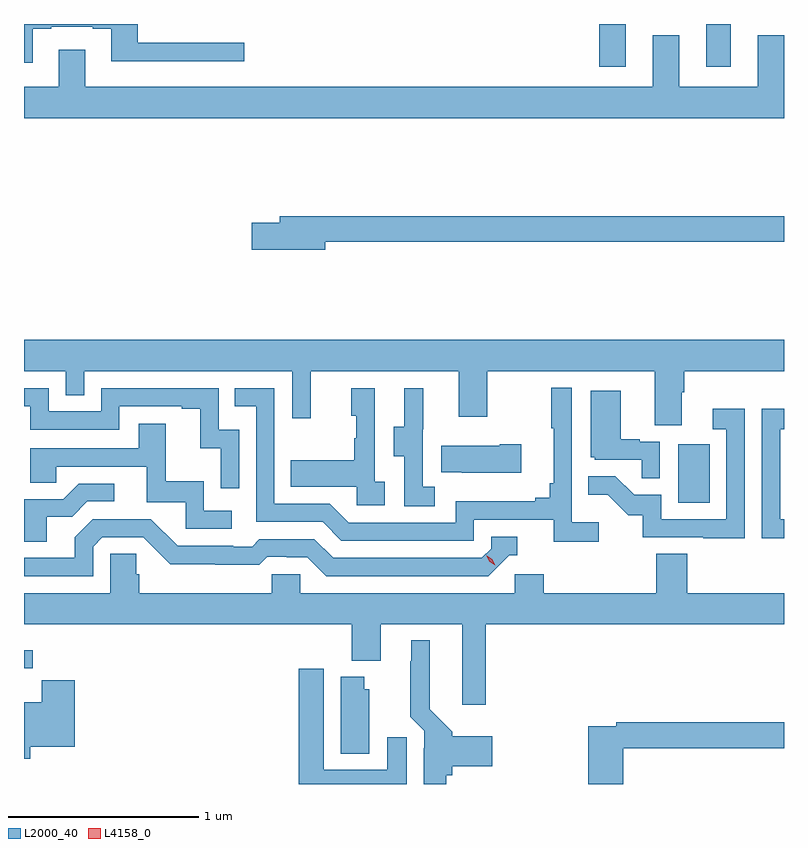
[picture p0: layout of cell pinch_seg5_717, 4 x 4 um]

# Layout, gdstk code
import gdstk
lib = gdstk.Library(unit=1e-6, precision=1e-09)
def R(c, l, rs):  # rectangles x0, y0, x1, y1
    for r in rs: c.add(gdstk.rectangle(r[:2], r[2:], *l))
def P(c, l, *ps):  # polygons
    for p in ps: c.add(gdstk.Polygon(p, *l))
L2000_40 = (2000, 40)
L4158_0 = (4158, 0)

pinch_seg5_717 = lib.new_cell('pinch_seg5_717')
R(pinch_seg5_717, L2000_40, [(1078.556,852.533,1078.602,852.628), (1082,853.404,1082.164,853.711), (1081.583,855.699,1081.723,855.923), (1082.147,855.699,1082.275,855.923)])
P(pinch_seg5_717, L2000_40, [(1078.603,855.897),(1078.699,855.897),(1078.699,855.909),(1078.919,855.909),(1078.919,855.897),(1079.015,855.897),(1079.015,855.728),(1079.716,855.728),(1079.716,855.825),(1079.155,855.825),(1079.155,855.923),(1078.556,855.923),(1078.556,855.72),(1078.603,855.72)],
  [(1082.556,855.865),(1082.417,855.865),(1082.417,855.592),(1082.005,855.592),(1082.005,855.865),(1081.865,855.865),(1081.865,855.592),(1078.879,855.592),(1078.879,855.787),(1078.739,855.787),(1078.739,855.592),(1078.556,855.592),(1078.556,855.428),(1082.556,855.428)],
  [(1080.142,854.776),(1082.556,854.776),(1082.556,854.912),(1079.903,854.912),(1079.903,854.876),(1079.754,854.876),(1079.754,854.734),(1080.142,854.734)],
  [(1082.017,853.984),(1082.03,853.984),(1082.03,854.096),(1082.556,854.096),(1082.556,854.26),(1078.556,854.26),(1078.556,854.096),(1078.776,854.096),(1078.776,853.969),(1078.872,853.969),(1078.872,854.096),(1079.967,854.096),(1079.967,853.848),(1080.065,853.848),(1080.065,854.096),(1080.845,854.096),(1080.845,853.857),(1080.993,853.857),(1080.993,854.096),(1081.877,854.096),(1081.877,853.81),(1082.017,853.81)],
  [(1081.582,853.3),(1081.44,853.3),(1081.44,854.008),(1081.332,854.008),(1081.332,853.795),(1081.343,853.795),(1081.343,853.507),(1081.324,853.507),(1081.324,853.43),(1081.247,853.43),(1081.247,853.411),(1080.828,853.411),(1080.828,853.299),(1080.264,853.299),(1080.165,853.398),(1079.874,853.398),(1079.874,854.007),(1079.665,854.007),(1079.665,853.911),(1079.778,853.911),(1079.778,853.302),(1080.128,853.302),(1080.227,853.203),(1080.924,853.203),(1080.924,853.314),(1081.343,853.314),(1081.343,853.198),(1081.582,853.198)],
  [(1079.688,853.788),(1079.58,853.788),(1079.58,854.007),(1078.962,854.007),(1078.962,853.884),(1078.686,853.884),(1078.686,854.007),(1078.556,854.007),(1078.556,853.911),(1078.59,853.911),(1078.59,853.788),(1079.058,853.788),(1079.058,853.911),(1079.387,853.911),(1079.387,853.899),(1079.483,853.899),(1079.483,853.691),(1079.592,853.691),(1079.592,853.479),(1079.688,853.479)],
  [(1080.454,853.514),(1080.402,853.514),(1080.402,854.005),(1080.278,854.005),(1080.278,853.86),(1080.304,853.86),(1080.304,853.742),(1080.294,853.742),(1080.294,853.627),(1079.959,853.627),(1079.959,853.487),(1080.306,853.487),(1080.306,853.389),(1080.454,853.389)],
  [(1080.718,853.487),(1080.654,853.487),(1080.654,853.791),(1080.656,853.791),(1080.656,854.005),(1080.557,854.005),(1080.557,853.803),(1080.503,853.803),(1080.503,853.648),(1080.558,853.648),(1080.558,853.384),(1080.718,853.384)],
  [(1081.902,853.725),(1081.796,853.725),(1081.796,853.738),(1081.696,853.738),(1081.696,853.993),(1081.538,853.993),(1081.538,853.644),(1081.56,853.644),(1081.56,853.629),(1081.807,853.629),(1081.807,853.531),(1081.902,853.531)],
  [(1082.349,853.897),(1082.181,853.897),(1082.181,853.791),(1082.253,853.791),(1082.253,853.317),(1081.911,853.317),(1081.911,853.446),(1081.767,853.446),(1081.669,853.544),(1081.525,853.544),(1081.525,853.445),(1081.629,853.445),(1081.736,853.338),(1081.813,853.338),(1081.813,853.221),(1082.131,853.221),(1082.131,853.216),(1082.349,853.216)],
  [(1082.556,853.317),(1082.535,853.317),(1082.535,853.791),(1082.556,853.791),(1082.556,853.897),(1082.439,853.897),(1082.439,853.216),(1082.556,853.216)],
  [(1079.65,853.362),(1079.502,853.362),(1079.502,853.516),(1079.303,853.516),(1079.303,853.819),(1079.159,853.819),(1079.159,853.689),(1078.59,853.689),(1078.59,853.509),(1078.727,853.509),(1078.727,853.593),(1079.201,853.593),(1079.201,853.407),(1079.406,853.407),(1079.406,853.266),(1079.65,853.266)],
  [(1081.174,853.71),(1081.061,853.71),(1081.061,853.702),(1080.751,853.702),(1080.751,853.565),(1080.859,853.565),(1080.859,853.562),(1081.174,853.562)],
  [(1078.675,853.33),(1078.81,853.33),(1078.89,853.41),(1079.032,853.41),(1079.032,853.503),(1078.844,853.503),(1078.763,853.422),(1078.557,853.422),(1078.556,853.423),(1078.556,853.198),(1078.675,853.198)],
  [(1078.92,853.173),(1078.968,853.221),(1079.184,853.221),(1079.326,853.079),(1079.562,853.079),(1079.562,853.077),(1079.795,853.077),(1079.837,853.119),(1079.94,853.119),(1079.94,853.116),(1080.047,853.116),(1080.146,853.017),(1080.999,853.017),(1081.11,853.128),(1081.153,853.128),(1081.153,853.224),(1081.014,853.224),(1081.014,853.161),(1080.966,853.113),(1080.183,853.113),(1080.084,853.212),(1079.795,853.212),(1079.756,853.173),(1079.657,853.173),(1079.657,853.176),(1079.364,853.176),(1079.223,853.317),(1078.917,853.317),(1078.823,853.223),(1078.823,853.113),(1078.556,853.113),(1078.556,853.017),(1078.92,853.017)],
  [(1080.986,852.764),(1082.556,852.764),(1082.556,852.928),(1082.048,852.928),(1082.048,853.136),(1081.883,853.136),(1081.883,852.928),(1081.292,852.928),(1081.292,853.026),(1081.14,853.026),(1081.14,852.928),(1080.009,852.928),(1080.009,853.026),(1079.859,853.026),(1079.859,852.928),(1079.162,852.928),(1079.162,853.026),(1079.147,853.026),(1079.147,853.136),(1079.01,853.136),(1079.01,852.928),(1078.556,852.928),(1078.556,852.764),(1080.281,852.764),(1080.281,852.572),(1080.433,852.572),(1080.433,852.764),(1080.863,852.764),(1080.863,852.339),(1080.986,852.339)],
  [(1080.778,851.97),(1080.809,851.97),(1080.809,852.017),(1081.021,852.017),(1081.021,852.175),(1080.809,852.175),(1080.809,852.198),(1080.691,852.316),(1080.691,852.679),(1080.593,852.679),(1080.593,852.569),(1080.589,852.569),(1080.589,852.278),(1080.663,852.204),(1080.663,852.11),(1080.659,852.11),(1080.659,851.923),(1080.778,851.923)],
  [(1080.571,852.169),(1080.467,852.169),(1080.467,851.997),(1080.133,851.997),(1080.133,852.529),(1080.002,852.529),(1080.002,851.923),(1080.571,851.923)],
  [(1080.373,852.423),(1080.346,852.423),(1080.346,852.487),(1080.224,852.487),(1080.224,852.082),(1080.373,852.082)],
  [(1078.588,852.119),(1078.823,852.119),(1078.823,852.468),(1078.649,852.468),(1078.649,852.352),(1078.556,852.352),(1078.556,852.056),(1078.588,852.056)],
  [(1081.709,852.112),(1082.556,852.112),(1082.556,852.248),(1081.672,852.248),(1081.672,852.228),(1081.526,852.228),(1081.526,851.923),(1081.709,851.923)])
P(pinch_seg5_717, L4158_0, [(1081.036,853.074),(1081.006,853.094),(1080.99,853.127),(1080.99,853.127),(1080.99,853.127),(1081.021,853.107),(1081.036,853.075),(1081.036,853.074)])

lib.write_gds('pinch_seg5_717.gds')
